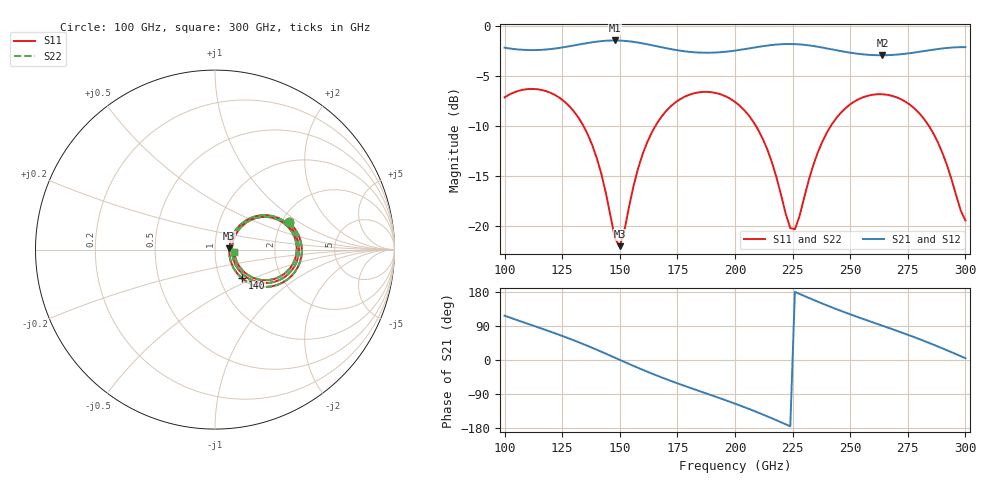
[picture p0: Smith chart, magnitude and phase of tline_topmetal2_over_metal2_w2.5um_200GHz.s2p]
#  GHZ S DB R 50
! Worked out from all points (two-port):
!   101 points, 100 GHz to 300 GHz, reference 50 ohm
!   highest |S21| = -1.46 dB at 148 GHz (marker M1); lowest = -2.9 dB at 264 GHz (marker M2)
!   |S21| within 3 dB of the highest: start of sweep to end of sweep
!   lowest |S11| = -22.0 dB at 150 GHz (marker M3), VSWR 1.17, Z = 58.6 + j0.732 ohm
!   |S11| at or under -10 dB: 134.2 GHz to 165.5 GHz (31.24 GHz wide, 20.8 % of centre); 209.1 GHz to 241.6 GHz (32.54 GHz wide, 14.4 % of centre); 284.2 GHz to end of sweep
!   |S22| runs from -22.1 to -6.3 dB; largest |S21 - S12| = 8.7e-14
!   S11 on the Smith chart (normalised r, x): 100 GHz: 2.19, +0.82; 140 GHz: 1.27, -0.43; 300 GHz: 1.24, -0.03
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100  -7.14 20.2  -2.18 116.9  -2.18 116.9  -7.15 20.2
116  -6.40 -8.3  -2.40 83.1  -2.40 83.1  -6.40 -8.4
126  -7.57 -26.2  -2.12 61.3  -2.12 61.3  -7.57 -26.2
134  -9.90 -39.8  -1.79 42.3  -1.79 42.3  -9.90 -39.9
140  -13.20 -46.8  -1.58 27.1  -1.58 27.1  -13.21 -47.0
148  -21.29 -21.3  -1.46 5.7  -1.46 5.7  -21.35 -21.5
150  -22.00 4.5  -1.47 0.3  -1.47 0.3  -22.07 4.5
160  -12.75 43.6  -1.76 -26.0  -1.76 -26.0  -12.76 43.7
168  -9.10 33.1  -2.13 -45.6  -2.13 -45.6  -9.11 33.1
184  -6.65 5.8  -2.67 -80.8  -2.67 -80.8  -6.65 5.8
200  -7.59 -21.4  -2.47 -115.2  -2.47 -115.2  -7.60 -21.6
212  -11.26 -39.3  -2.04 -143.6  -2.04 -143.6  -11.27 -39.5
224  -20.20 -11.7  -1.82 -174.9  -1.82 -174.9  -20.32 -12.1
226  -20.31 8.6  -1.83 179.8  -1.83 179.8  -20.45 8.6
234  -13.89 41.1  -2.02 158.8  -2.02 158.8  -13.93 41.4
246  -8.67 28.5  -2.52 129.6  -2.52 129.6  -8.68 28.7
264  -6.83 -0.9  -2.94 90.5  -2.94 90.5  -6.84 -0.8
268  -6.98 -7.5  -2.91 81.9  -2.91 81.9  -6.99 -7.4
278  -8.28 -23.7  -2.66 59.8  -2.66 59.8  -8.28 -23.6
286  -10.70 -34.8  -2.38 40.8  -2.38 40.8  -10.70 -34.6
294  -15.34 -35.6  -2.17 20.5  -2.17 20.5  -15.33 -35.3
300  -19.43 -6.1  -2.13 4.8  -2.13 4.8  -19.36 -5.9
